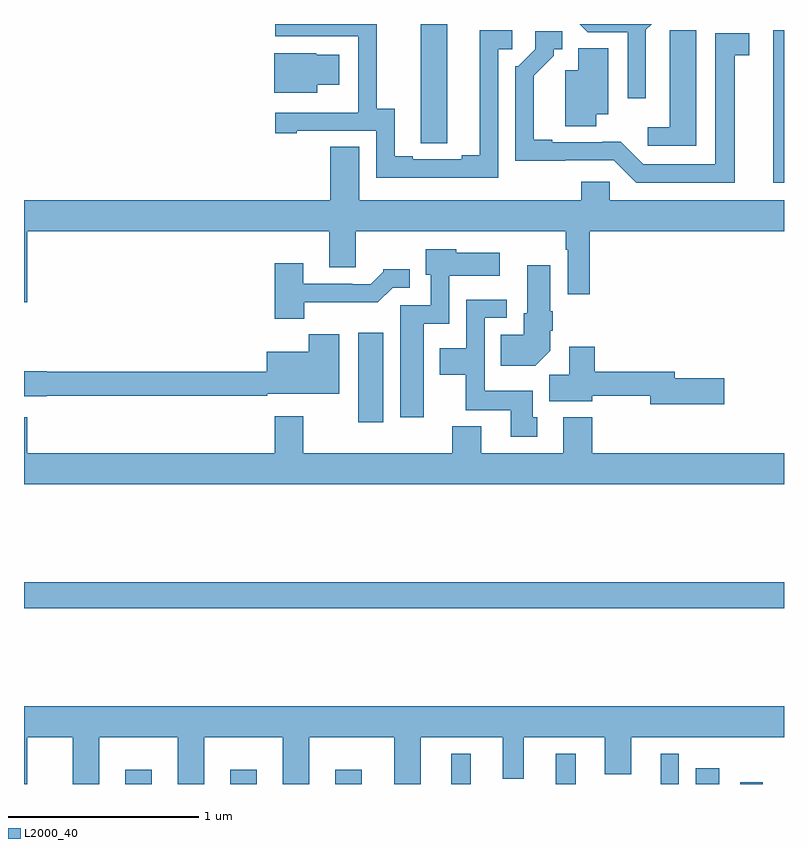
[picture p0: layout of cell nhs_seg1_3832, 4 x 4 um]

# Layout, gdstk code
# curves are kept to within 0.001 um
import gdstk
lib = gdstk.Library(unit=1e-6, precision=1e-09)
def R(c, l, rs):  # rectangles x0, y0, x1, y1
    for r in rs: c.add(gdstk.rectangle(r[:2], r[2:], *l))
def A(c, l, x, y, w, h, nx, ny, dx, dy):  # array of equal rectangles
    R(c, l, [(x+i*dx, y+j*dy, x+i*dx+w, y+j*dy+h) for i in range(nx) for j in range(ny)])
def P(c, l, *ps):  # polygons
    for p in ps: c.add(gdstk.Polygon(p, *l))
L2000_40 = (2000, 40)

nhs_seg1_3832 = lib.new_cell('nhs_seg1_3832')
A(nhs_seg1_3832, L2000_40, 321.533, 506.199, 0.14, 0.076, 3, 1, 0.552, 0)
R(nhs_seg1_3832, L2000_40, [(323.249,506.199,323.35,506.359), (323.798,506.199,323.905,506.359), (324.35,506.199,324.447,506.359), (324.536,506.199,324.658,506.281), (324.77,506.199,324.889,506.209), (321,507.124,325,507.26), (322.76,508.104,322.891,508.573), (324.944,509.364,325,510.166)])
P(nhs_seg1_3832, L2000_40, [(323.227,510.199),(323.087,510.199),(323.087,509.68),(323.088,509.68),(323.088,509.572),(323.227,509.572)],
  [(324.273,510.168),(324.304,510.199),(323.924,510.199),(323.967,510.156),(324.177,510.156),(324.177,509.808),(324.273,509.808)],
  [(323.496,510.066),(323.569,510.066),(323.569,510.167),(323.399,510.167),(323.399,509.507),(323.303,509.507),(323.303,509.487),(323.047,509.487),(323.047,509.502),(322.951,509.502),(322.951,509.753),(322.857,509.753),(322.857,510.199),(322.323,510.199),(322.323,510.135),(322.758,510.135),(322.758,509.734),(322.757,509.734),(322.757,509.733),(322.323,509.733),(322.323,509.625),(322.435,509.625),(322.435,509.637),(322.854,509.637),(322.854,509.391),(323.496,509.391)],
  [(324.538,510.167),(324.399,510.167),(324.399,510.059),(324.398,510.059),(324.398,509.656),(324.282,509.656),(324.282,509.559),(324.538,509.559)],
  [(324.742,510.034),(324.817,510.034),(324.817,510.15),(324.638,510.15),(324.638,509.46),(324.258,509.46),(324.14,509.578),(323.779,509.577),(323.779,509.59),(323.683,509.59),(323.683,509.926),(323.788,510.031),(323.788,510.066),(323.833,510.066),(323.833,510.162),(323.691,510.162),(323.691,510.066),(323.601,509.976),(323.586,509.976),(323.586,509.48),(324.105,509.481),(324.222,509.364),(324.742,509.364)],
  [(324.013,509.723),(324.076,509.723),(324.076,510.071),(323.918,510.071),(323.918,509.956),(323.849,509.956),(323.849,509.662),(324.013,509.662)],
  [(322.543,509.879),(322.66,509.879),(322.66,510.037),(322.539,510.037),(322.539,510.046),(322.316,510.046),(322.316,509.837),(322.543,509.837)],
  [(321.016,509.108),(322.607,509.108),(322.607,508.918),(322.747,508.918),(322.747,509.108),(323.85,509.108),(323.85,509.012),(323.862,509.012),(323.862,508.776),(323.978,508.776),(323.978,509.108),(325,509.108),(325,509.272),(324.084,509.272),(324.084,509.37),(323.933,509.37),(323.933,509.272),(322.765,509.272),(322.765,509.552),(322.613,509.552),(322.613,509.272),(321,509.272),(321,508.734),(321.016,508.734)],
  [(323.104,508.622),(323.238,508.622),(323.238,508.874),(323.503,508.874),(323.503,508.996),(323.274,508.996),(323.274,509.014),(323.114,509.014),(323.114,508.878),(323.142,508.878),(323.142,508.719),(322.979,508.719),(322.979,508.128),(323.104,508.128)],
  [(322.474,508.734),(322.863,508.734),(322.941,508.812),(323.029,508.812),(323.029,508.909),(322.89,508.909),(322.89,508.894),(322.826,508.83),(322.727,508.83),(322.727,508.833),(322.471,508.833),(322.471,508.939),(322.319,508.939),(322.319,508.649),(322.474,508.649)],
  [(323.77,508.478),(323.77,508.585),(323.783,508.585),(323.783,508.688),(323.77,508.688),(323.77,508.93),(323.648,508.93),(323.648,508.677),(323.63,508.677),(323.63,508.564),(323.509,508.564),(323.509,508.4),(323.692,508.4)],
  [(323.701,508.128),(323.677,508.128),(323.677,508.27),(323.424,508.27),(323.424,508.653),(323.542,508.653),(323.542,508.749),(323.328,508.749),(323.328,508.492),(323.189,508.492),(323.189,508.352),(323.326,508.352),(323.326,508.166),(323.561,508.166),(323.561,508.026),(323.701,508.026)],
  [(321.12,508.242),(322.281,508.242),(322.281,508.253),(322.66,508.253),(322.66,508.567),(322.498,508.567),(322.498,508.474),(322.277,508.474),(322.277,508.37),(321.12,508.37),(321.12,508.371),(321,508.371),(321,508.241),(321.12,508.241)],
  [(324.685,508.334),(324.424,508.334),(324.424,508.37),(324.005,508.37),(324.005,508.501),(323.87,508.501),(323.87,508.352),(323.765,508.352),(323.765,508.214),(323.992,508.214),(323.992,508.242),(324.296,508.242),(324.296,508.199),(324.685,508.199)],
  [(325,507.94),(323.99,507.94),(323.99,508.129),(323.837,508.129),(323.837,507.94),(323.407,507.94),(323.407,508.081),(323.255,508.081),(323.255,507.94),(322.471,507.94),(322.471,508.135),(322.319,508.135),(322.319,507.94),(321.016,507.94),(321.016,508.129),(321,508.129),(321,507.776),(325,507.776)],
  [(321.016,506.444),(321.257,506.444),(321.257,506.199),(321.397,506.199),(321.397,506.444),(321.809,506.444),(321.809,506.199),(321.949,506.199),(321.949,506.444),(322.361,506.444),(322.361,506.199),(322.501,506.199),(322.501,506.444),(322.949,506.444),(322.949,506.199),(323.089,506.199),(323.089,506.444),(323.519,506.444),(323.519,506.226),(323.629,506.226),(323.629,506.444),(324.056,506.444),(324.056,506.25),(324.196,506.25),(324.196,506.444),(325,506.444),(325,506.608),(321,506.608),(321,506.199),(321.016,506.199)])

lib.write_gds('nhs_seg1_3832.gds')
